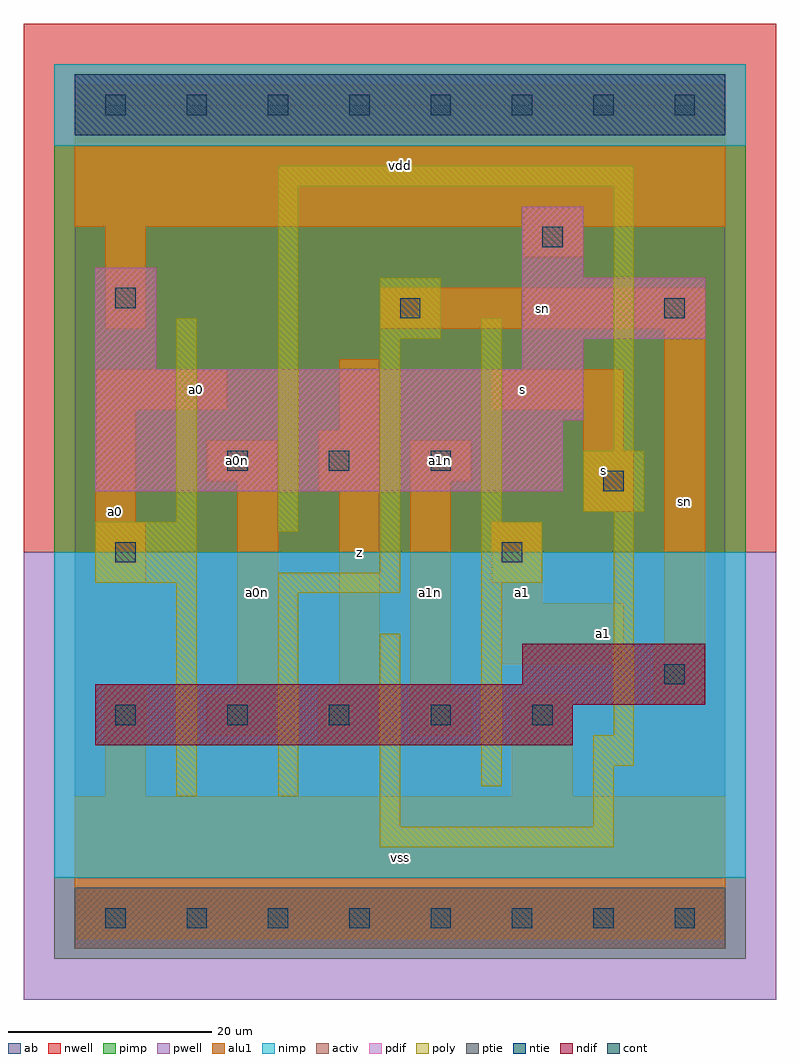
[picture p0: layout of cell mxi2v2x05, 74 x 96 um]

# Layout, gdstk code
import gdstk
lib = gdstk.Library(unit=1e-6, precision=1e-09)
def R(c, l, rs):  # rectangles x0, y0, x1, y1
    for r in rs: c.add(gdstk.rectangle(r[:2], r[2:], *l))
def A(c, l, x, y, w, h, nx, ny, dx, dy):  # array of equal rectangles
    R(c, l, [(x+i*dx, y+j*dy, x+i*dx+w, y+j*dy+h) for i in range(nx) for j in range(ny)])
ndif = (3, 0)
pdif = (4, 0)
ntie = (5, 0)
ptie = (6, 0)
cont = (25, 0)
pwell = (41, 0)
nwell = (42, 0)
activ = (43, 0)
pimp = (44, 0)
nimp = (45, 0)
poly = (46, 0)
alu1 = (49, 0)
ab = (63, 0)

mxi2v2x05 = lib.new_cell('mxi2v2x05')
R(mxi2v2x05, ndif, [(2,17,49,21), (2,21,62,23), (44,23,62,27)])
R(mxi2v2x05, pdif, [(2,42,48,49), (2,49,50,54), (2,54,8,64), (44,54,50,57), (44,57,62,63), (44,63,50,70)])
R(mxi2v2x05, ntie, [(0,77,64,83)])
R(mxi2v2x05, ptie, [(0,-3,64,3)])
A(mxi2v2x05, cont, 3, -1, 2, 2, 8, 2, 8, 80)
A(mxi2v2x05, cont, 15, 19, 2, 2, 4, 1, 10, 0)
A(mxi2v2x05, cont, 15, 44, 2, 2, 3, 1, 10, 0)
R(mxi2v2x05, cont, [(4,19,6,21), (58,23,60,25), (4,35,6,37), (42,35,44,37), (52,42,54,44), (32,59,34,61), (58,59,60,61), (4,60,6,62), (46,66,48,68)])
R(mxi2v2x05, pwell, [(-5,-8,69,36)])
R(mxi2v2x05, nwell, [(-5,36,69,88)])
R(mxi2v2x05, activ, [(0,-3,64,3), (2,17,49,21), (2,21,62,23), (44,23,62,27), (2,42,48,49), (2,49,50,54), (2,54,8,64), (44,54,50,57), (44,57,62,63), (44,63,50,70), (0,77,64,83)])
R(mxi2v2x05, pimp, [(-2,-4,66,4), (-2,36,66,76)])
R(mxi2v2x05, nimp, [(-2,4,66,36), (-2,76,66,84)])
R(mxi2v2x05, poly, [(30,7,53,9), (30,9,32,28), (51,9,53,15), (10,12,12,33), (20,12,22,32), (40,13,42,33), (51,15,55,18), (53,18,55,40), (20,32,32,34), (2,33,12,39), (40,33,46,39), (30,34,32,57), (20,38,22,72), (10,39,12,59), (40,39,42,59), (50,40,56,46), (53,46,55,72), (30,57,36,63), (20,72,55,74)])
R(mxi2v2x05, alu1, [(0,-2,64,12), (3,12,7,23), (43,12,49,22), (24,17,30,23), (13,18,20,22), (33,18,39,22), (57,21,62,27), (16,22,20,43), (33,22,37,43), (26,23,30,42), (42,25,54,31), (58,27,62,58), (42,31,46,33), (2,33,7,39), (41,33,46,39), (2,39,6,50), (50,40,55,46), (24,42,30,48), (13,43,20,47), (33,43,39,47), (50,46,54,50), (26,48,30,55), (2,50,15,54), (41,50,54,54), (3,58,7,68), (30,58,62,62), (44,65,50,68), (0,68,64,82)])
R(mxi2v2x05, ab, [(0,0,64,80)])
mxi2v2x05.add(gdstk.Label('a0n', (18,32), layer=49, texttype=0))
mxi2v2x05.add(gdstk.Label('a0n', (16,45), layer=49, texttype=0))
mxi2v2x05.add(gdstk.Label('a1n', (35,32), layer=49, texttype=0))
mxi2v2x05.add(gdstk.Label('a1n', (36,45), layer=49, texttype=0))
mxi2v2x05.add(gdstk.Label('sn', (46,60), layer=49, texttype=0))
mxi2v2x05.add(gdstk.Label('sn', (60,41), layer=49, texttype=0))
mxi2v2x05.add(gdstk.Label('a0', (4,40), layer=49, texttype=0))
mxi2v2x05.add(gdstk.Label('a0', (12,52), layer=49, texttype=0))
mxi2v2x05.add(gdstk.Label('z', (28,36), layer=49, texttype=0))
mxi2v2x05.add(gdstk.Label('vss', (32,6), layer=49, texttype=0))
mxi2v2x05.add(gdstk.Label('a1', (44,32), layer=49, texttype=0))
mxi2v2x05.add(gdstk.Label('s', (44,52), layer=49, texttype=0))
mxi2v2x05.add(gdstk.Label('vdd', (32,74), layer=49, texttype=0))
mxi2v2x05.add(gdstk.Label('a1', (52,28), layer=49, texttype=0))
mxi2v2x05.add(gdstk.Label('s', (52,44), layer=49, texttype=0))

lib.write_gds('mxi2v2x05.gds')
